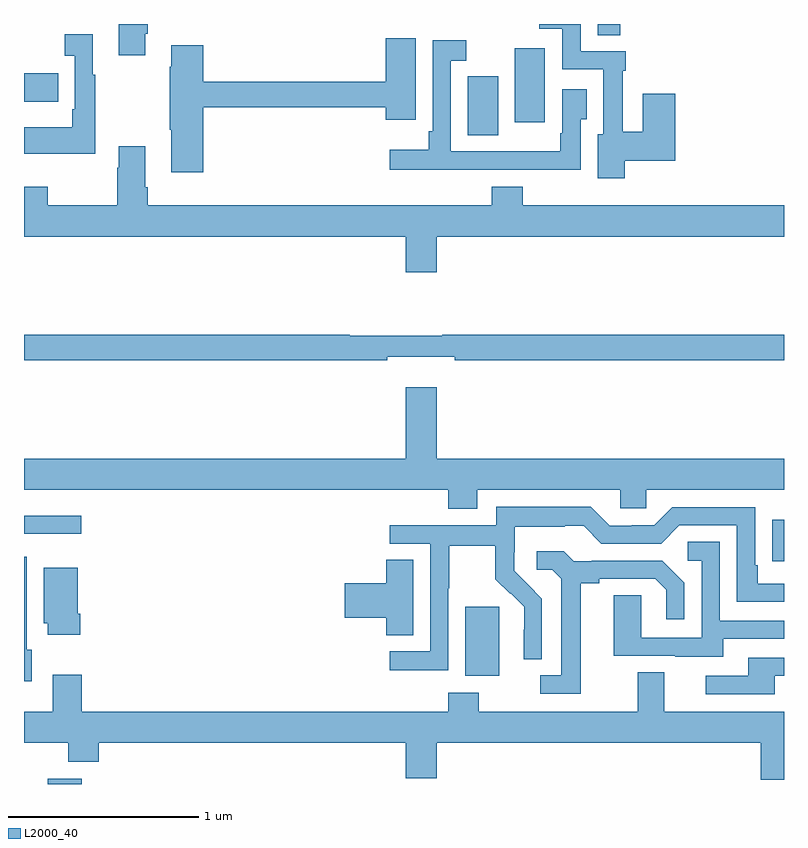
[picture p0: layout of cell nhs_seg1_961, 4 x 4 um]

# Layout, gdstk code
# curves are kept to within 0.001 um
import gdstk
lib = gdstk.Library(unit=1e-6, precision=1e-09)
def R(c, l, rs):  # rectangles x0, y0, x1, y1
    for r in rs: c.add(gdstk.rectangle(r[:2], r[2:], *l))
def P(c, l, *ps):  # polygons
    for p in ps: c.add(gdstk.Polygon(p, *l))
L2000_40 = (2000, 40)

nhs_seg1_961 = lib.new_cell('nhs_seg1_961')
R(nhs_seg1_961, L2000_40, [(163.124,534.199,163.303,534.226), (165.323,534.77,165.502,535.131), (166.939,535.372,167,535.591), (163,535.515,163.3,535.612), (165.335,537.613,165.496,537.924), (165.584,537.683,165.742,538.072), (163,537.791,163.181,537.939), (166.019,538.141,166.138,538.199)])
P(nhs_seg1_961, L2000_40, [(166.163,537.479),(166.427,537.479),(166.427,537.832),(166.256,537.832),(166.256,537.632),(166.15,537.632),(166.15,537.953),(166.168,537.953),(166.168,538.056),(165.93,538.056),(165.93,538.199),(165.711,538.199),(165.711,538.173),(165.834,538.173),(165.834,537.96),(166.049,537.96),(166.049,537.619),(166.019,537.619),(166.019,537.387),(166.163,537.387)],
  [(163.639,538.147),(163.652,538.147),(163.652,538.199),(163.499,538.199),(163.499,538.035),(163.639,538.035)],
  [(163.375,537.931),(163.363,537.931),(163.363,538.144),(163.215,538.144),(163.215,538.031),(163.266,538.031),(163.266,537.751),(163.254,537.751),(163.254,537.655),(163,537.655),(163,537.515),(163.375,537.515)],
  [(163.943,537.76),(164.903,537.76),(164.903,537.696),(165.061,537.696),(165.061,538.123),(164.903,538.123),(164.903,537.896),(163.943,537.896),(163.943,538.087),(163.775,538.087),(163.775,537.974),(163.768,537.974),(163.768,537.643),(163.775,537.643),(163.775,537.42),(163.943,537.42)],
  [(165.343,537.432),(165.709,537.432),(165.709,537.431),(165.93,537.431),(165.93,537.697),(165.961,537.697),(165.961,537.856),(165.834,537.856),(165.834,537.625),(165.822,537.625),(165.822,537.529),(165.592,537.529),(165.592,537.528),(165.246,537.528),(165.246,538.005),(165.328,538.005),(165.328,538.114),(165.15,538.114),(165.15,537.634),(165.13,537.634),(165.13,537.538),(164.925,537.538),(164.925,537.431),(165.343,537.431)],
  [(165.172,537.08),(167,537.08),(167,537.244),(165.626,537.244),(165.626,537.343),(165.461,537.343),(165.461,537.244),(163.652,537.244),(163.652,537.34),(163.639,537.34),(163.639,537.556),(163.499,537.556),(163.499,537.443),(163.492,537.443),(163.492,537.244),(163.125,537.244),(163.125,537.343),(163,537.343),(163,537.08),(165.008,537.08),(165.008,536.892),(165.172,536.892)],
  [(164.912,536.447),(165.268,536.447),(165.268,536.428),(167,536.428),(167,536.564),(165.201,536.564),(165.201,536.557),(164.714,536.557),(164.714,536.564),(163,536.564),(163,536.428),(164.912,536.428)],
  [(165.172,536.287),(165.008,536.287),(165.008,535.912),(163,535.912),(163,535.748),(165.233,535.748),(165.233,535.649),(165.385,535.649),(165.385,535.748),(166.137,535.748),(166.137,535.65),(166.275,535.65),(166.275,535.748),(167,535.748),(167,535.912),(165.172,535.912)],
  [(165.234,535.228),(165.237,535.228),(165.237,535.452),(165.481,535.452),(165.481,535.277),(165.558,535.2),(165.561,535.203),(165.632,535.133),(165.632,535.01),(165.63,535.01),(165.63,534.856),(165.726,534.856),(165.726,535.174),(165.58,535.322),(165.58,535.419),(165.582,535.419),(165.582,535.553),(165.845,535.553),(165.845,535.557),(165.945,535.557),(166.038,535.464),(166.353,535.464),(166.449,535.56),(166.752,535.56),(166.752,535.158),(167,535.158),(167,535.254),(166.861,535.254),(166.861,535.351),(166.848,535.351),(166.848,535.656),(166.413,535.656),(166.317,535.56),(166.199,535.56),(166.199,535.557),(166.083,535.557),(165.983,535.657),(165.486,535.657),(165.486,535.56),(164.925,535.56),(164.925,535.464),(165.138,535.464),(165.138,534.897),(164.925,534.897),(164.925,534.799),(165.234,534.799)],
  [(166.681,534.963),(167,534.963),(167,535.059),(166.662,535.059),(166.662,535.475),(166.494,535.475),(166.494,535.374),(166.566,535.374),(166.566,534.969),(166.248,534.969),(166.248,535.193),(166.103,535.193),(166.103,534.873),(166.427,534.873),(166.427,534.869),(166.681,534.869)],
  [(165.931,535.256),(166.027,535.256),(166.027,535.278),(166.322,535.278),(166.379,535.221),(166.379,535.065),(166.476,535.065),(166.476,535.258),(166.36,535.374),(165.988,535.374),(165.988,535.371),(165.894,535.371),(165.842,535.423),(165.699,535.423),(165.699,535.326),(165.78,535.326),(165.827,535.279),(165.827,534.771),(165.717,534.771),(165.717,534.675),(165.931,534.675)],
  [(163.042,534.906),(163.015,534.906),(163.015,535.396),(163,535.396),(163,534.74),(163.042,534.74)],
  [(165.049,535.379),(164.906,535.379),(164.906,535.256),(164.688,535.256),(164.688,535.073),(164.906,535.073),(164.906,534.982),(165.049,534.982)],
  [(163.295,535.096),(163.282,535.096),(163.282,535.336),(163.103,535.336),(163.103,535.044),(163.124,535.044),(163.124,534.984),(163.295,534.984)],
  [(166.951,534.768),(167,534.768),(167,534.864),(166.811,534.864),(166.811,534.768),(166.587,534.768),(166.587,534.672),(166.951,534.672)],
  [(163.304,534.775),(163.151,534.775),(163.151,534.58),(163,534.58),(163,534.416),(163.234,534.416),(163.234,534.317),(163.394,534.317),(163.394,534.416),(165.008,534.416),(165.008,534.228),(165.172,534.228),(165.172,534.416),(166.877,534.416),(166.877,534.222),(167,534.222),(167,534.58),(166.369,534.58),(166.369,534.788),(166.229,534.788),(166.229,534.58),(165.393,534.58),(165.393,534.679),(165.233,534.679),(165.233,534.58),(163.304,534.58)])

lib.write_gds('nhs_seg1_961.gds')
